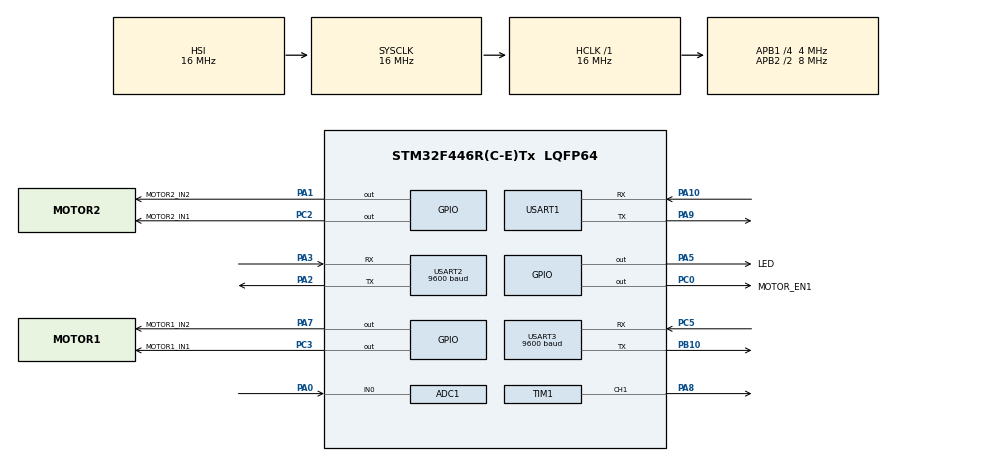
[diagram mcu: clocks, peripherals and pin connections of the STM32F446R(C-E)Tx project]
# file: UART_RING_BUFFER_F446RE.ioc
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ADC1.Channel-0\#ChannelRegularConversion=ADC_CHANNEL_0
ADC1.ContinuousConvMode=ENABLE
ADC1.NbrOfConversionFlag=1
ADC1.Rank-0\#ChannelRegularConversion=1
ADC1.SamplingTime-0\#ChannelRegularConversion=ADC_SAMPLETIME_3CYCLES
ADC1.master=1
Mcu.Family=STM32F4
Mcu.Name=STM32F446R(C-E)Tx
Mcu.Package=LQFP64
NVIC.PriorityGroup=NVIC_PRIORITYGROUP_4
NVIC.TIM6_DAC_IRQn=true\:0\:0\:false\:false\:true\:true\:true\:true
NVIC.USART1_IRQn=true\:0\:0\:false\:false\:true\:true\:true\:true
NVIC.USART2_IRQn=true\:0\:0\:false\:false\:true\:true\:true\:true
PA0-WKUP.Signal=ADCx_IN0
PA1.GPIO_Label=MOTOR2_IN2
PA1.Signal=GPIO_Output
PA10.Mode=Asynchronous
PA10.Signal=USART1_RX
PA2.Mode=Asynchronous
PA2.Signal=USART2_TX
PA3.Mode=Asynchronous
PA3.Signal=USART2_RX
PA5.GPIO_Label=LED
PA5.Signal=GPIO_Output
PA7.GPIO_Label=MOTOR1_IN2
PA7.Signal=GPIO_Output
PA8.Signal=S_TIM1_CH1
PA9.Mode=Asynchronous
PA9.Signal=USART1_TX
PB10.Mode=Asynchronous
PB10.Signal=USART3_TX
PC0.GPIO_Label=MOTOR_EN1
PC0.Signal=GPIO_Output
PC2.GPIO_Label=MOTOR2_IN1
PC2.Signal=GPIO_Output
PC3.GPIO_Label=MOTOR1_IN1
PC3.Signal=GPIO_Output
PC5.Mode=Asynchronous
PC5.Signal=USART3_RX
PH0-OSC_IN.Mode=HSE-External-Oscillator
PH0-OSC_IN.Signal=RCC_OSC_IN
PH1-OSC_OUT.Mode=HSE-External-Oscillator
PH1-OSC_OUT.Signal=RCC_OSC_OUT
ProjectManager.HeapSize=0x200
ProjectManager.StackSize=0x400
ProjectManager.TargetToolchain=STM32CubeIDE
RCC.AHBFreq_Value=16000000
RCC.APB1CLKDivider=RCC_HCLK_DIV4
RCC.APB1Freq_Value=4000000
RCC.APB1TimFreq_Value=8000000
RCC.APB2CLKDivider=RCC_HCLK_DIV2
RCC.APB2Freq_Value=8000000
RCC.APB2TimFreq_Value=16000000
RCC.CortexFreq_Value=16000000
RCC.HCLKFreq_Value=16000000
RCC.HSE_VALUE=8000000
RCC.PLLM=4
RCC.PLLN=180
RCC.SYSCLKFreq_VALUE=16000000
RCC.USBFreq_Value=360000000
RCC.VCOOutputFreq_Value=720000000
SH.ADCx_IN0.0=ADC1_IN0,IN0
SH.S_TIM1_CH1.0=TIM1_CH1,PWM Generation1 CH1
TIM1.Channel-PWM\ Generation1\ CH1=TIM_CHANNEL_1
TIM1.Period=99
TIM1.Prescaler=6399
TIM6.AutoReloadPreload=TIM_AUTORELOAD_PRELOAD_ENABLE
TIM6.Period=1000
TIM6.Prescaler=15999
USART1.VirtualMode=VM_ASYNC
USART2.BaudRate=9600
USART2.VirtualMode=VM_ASYNC
USART3.BaudRate=9600
USART3.VirtualMode=VM_ASYNC
VP_TIM1_VS_ClockSourceINT.Mode=Internal
VP_TIM6_VS_ClockSourceINT.Mode=Enable_Timer
board=custom

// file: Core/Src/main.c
/* USER CODE BEGIN Header */
/**
  ******************************************************************************
  * @file           : main.c
  * @brief          : Main program body
  ******************************************************************************
  * @attention
  *
  * <h2><center>&copy; Copyright (c) 2019 STMicroelectronics.
  * All rights reserved.</center></h2>
  *
  * This software component is licensed by ST under BSD 3-Clause license,
  * the "License"; You may not use this file except in compliance with the
  * License. You may obtain a copy of the License at:
  *                        opensource.org/licenses/BSD-3-Clause
  *
  ******************************************************************************
  */
/* USER CODE END Header */

#include "main.h"

/* USER CODE BEGIN Includes */
#include "UartRingbuffer.h"
#include <stdio.h>
#include <string.h>
/* USER CODE END Includes */

ADC_HandleTypeDef hadc1;

TIM_HandleTypeDef htim1;
TIM_HandleTypeDef htim6;

UART_HandleTypeDef huart1;
UART_HandleTypeDef huart2;
UART_HandleTypeDef huart3;

/* USER CODE BEGIN PV */
//int data[100];
char data;
char buffer[50];
char buff[1];
uint8_t count_sec = 0;
uint8_t flag=0;
uint8_t time=0;
uint8_t stop=0;
uint8_t tim_flag = 0;
uint8_t tim_val = 0;
float adc_val;
int motor_flag=1;
int pwm_value=10;
/* USER CODE END PV */

void SystemClock_Config(void);
static void MX_GPIO_Init(void);
static void MX_USART2_UART_Init(void);
static void MX_USART1_UART_Init(void);
static void MX_TIM6_Init(void);
static void MX_ADC1_Init(void);
static void MX_TIM1_Init(void);
static void MX_USART3_UART_Init(void);
/* USER CODE BEGIN PFP */
int data_from_iot(void);
void iot_data_send_to_target_set(char *data);
int action(int sec);
void motor_drive_start(void);
float adc_value(void);
void motor_drive_clockwise(void);
void motor_drive_anticlockwise(void);
/* USER CODE END PFP */

/* USER CODE BEGIN 0 */
int data_from_iot(void)
{
	stop=0;
	//HAL_UART_Transmit(&huart2, "Entry data_from_iot\r\n", strlen("Entry data_from_iot\r\n"), 100);
//	if(motor_flag)
//	{
	if (IsDataAvailable()) {
		data = Uart_read();

		if (Wait_for("$") == 1  ) {
			Copy_upto("1", buff);
			motor_flag=0;
			//HAL_UART_Transmit(&huart2, buff, 1, 100);
			iot_data_send_to_target_set(buff);

		}

	}
//}
//	if(motor_flag==0)
//	{
//		motor_drive_clockwise();
//							HAL_Delay(1000);
//							motor_drive_anticlockwise();
//							HAL_Delay(1000);
//
//	}

	return 1;

}

int action(int sec)
{
	//HAL_UART_Transmit(&huart2, "Entry motor action\r\n", strlen("Entry motor action\r\n"), 100);

	HAL_TIM_Base_Start_IT(&htim6);
  while(1)
{
	if(adc_value() >= 2000.00)
			{
		       HAL_UART_Transmit(&huart3, "1", 1, 100);
		       Uart_write(1);
				HAL_GPIO_WritePin(GPIOA, LED_Pin, GPIO_PIN_SET);
				count_sec=10;
				HAL_TIM_Base_Stop_IT(&htim6);
				motor_drive_stop();
				return 0;
				break;

			}
//	if(adc_value()<= 2000.00 )
//	{
//		HAL_GPIO_WritePin(GPIOA, LED_Pin, GPIO_PIN_RESET);
//		        Uart_write(0);
//		//HAL_UART_Transmit(&huart2, "Target Missed\r\n", strlen("Target Missed\r\n"), 100);
//	}
}

}

void iot_data_send_to_target_set(char data[])
{
	//HAL_UART_Transmit(&huart2, "Entry data_sent_target\r\n", strlen("Entry data_sent_target\r\n"), 100);

	if (data[0] == 1) {
		tim_val = 5;
		action(tim_val);

	} else if (data[0] == 2) {
		tim_val = 10;
		action(tim_val);

	} else if (data[0] == 3) {
		tim_val = 20;
		action(tim_val);
	} else {
		tim_val = 0;
		action(tim_val);
	}

}
void motor_drive_clockwise(void)
{
   // ++time;
	//HAL_UART_Transmit(&huart2, "Entry motor start clockwise\r\n",strlen("Entry motor start clockwise\r\n"), 100);
//  if(pwm_value>10)
//  {
	    htim1.Instance->CCR1 = pwm_value;

	    HAL_GPIO_WritePin(GPIOC, MOTOR2_IN1_Pin, GPIO_PIN_SET);
	  	HAL_GPIO_WritePin(GPIOA, MOTOR2_IN2_Pin, GPIO_PIN_RESET);
	  	HAL_GPIO_WritePin(GPIOC, MOTOR1_IN1_Pin, GPIO_PIN_SET);
	  	HAL_GPIO_WritePin(MOTOR1_IN2_GPIO_Port, MOTOR1_IN2_Pin, GPIO_PIN_RESET);
	  	pwm_value++;
//  }

}
void motor_drive_anticlockwise(void)
{
   // ++time;
	//HAL_UART_Transmit(&huart2, "Entry motor start anticlockwise\r\n",strlen("Entry motor start anticlockwise\r\n"), 100);
//	if (pwm_value < 10) {
		htim1.Instance->CCR1 = pwm_value;

		HAL_GPIO_WritePin(GPIOC, MOTOR2_IN1_Pin, GPIO_PIN_RESET);
		HAL_GPIO_WritePin(GPIOA, MOTOR2_IN2_Pin, GPIO_PIN_SET);
		HAL_GPIO_WritePin(GPIOC, MOTOR1_IN1_Pin, GPIO_PIN_RESET);
		HAL_GPIO_WritePin(MOTOR1_IN2_GPIO_Port, MOTOR1_IN2_Pin, GPIO_PIN_SET);
		pwm_value--;
//	}

}

void motor_drive_stop(void)
{
	//HAL_UART_Transmit(&huart2, "Entry motor stop\r\n",strlen("Entry motor stop\r\n"), 100);

	HAL_GPIO_WritePin(GPIOC, MOTOR2_IN1_Pin, GPIO_PIN_RESET);
	HAL_GPIO_WritePin(GPIOA, MOTOR2_IN2_Pin, GPIO_PIN_RESET);

	HAL_GPIO_WritePin(GPIOC, MOTOR1_IN1_Pin, GPIO_PIN_RESET);
	HAL_GPIO_WritePin(MOTOR1_IN2_GPIO_Port, MOTOR1_IN2_Pin, GPIO_PIN_RESET);
	HAL_Delay(2000);
	HAL_TIM_PWM_Stop(&htim1, TIM_CHANNEL_1);
}
float adc_value(void)
{
	flag=0;
	HAL_ADC_Start(&hadc1);
	HAL_ADC_PollForConversion(&hadc1, 100);
	adc_val = HAL_ADC_GetValue(&hadc1);
	sprintf(buffer,"Solar Panel:%0.2f\r\n",adc_val);
	HAL_UART_Transmit(&huart2, buffer, strlen(buffer), 100);
	return adc_val;
}
/* USER CODE END 0 */

int main(void)
{

  /* MCU Configuration--------------------------------------------------------*/

  /* Reset of all peripherals, Initializes the Flash interface and the Systick. */
  HAL_Init();

  /* Configure the system clock */
  SystemClock_Config();

  /* Initialize all configured peripherals */
  MX_GPIO_Init();
  MX_USART2_UART_Init();
  MX_USART1_UART_Init();
  MX_TIM6_Init();
  MX_ADC1_Init();
  MX_TIM1_Init();
  MX_USART3_UART_Init();
  /* USER CODE BEGIN 2 */

  Ringbuf_init ();
  HAL_TIM_Base_Start(&htim1);
 HAL_TIM_PWM_Start(&htim1, TIM_CHANNEL_1);
 // HAL_UART_Transmit(&huart3, "Hello", 5,100);
  /* USER CODE END 2 */

  /* Infinite loop */
  while (1)
  {

    /* USER CODE BEGIN 3 */
	  /* wait_for is replaced by get_pos */
	  if(data_from_iot())
	  {
		  stop=1;
	  }

      if(action(5)==0)
      {
    	  exit(0);
      }

  }
  /* USER CODE END 3 */
}

void SystemClock_Config(void)
{
  RCC_OscInitTypeDef RCC_OscInitStruct = {0};
  RCC_ClkInitTypeDef RCC_ClkInitStruct = {0};

  /** Configure the main internal regulator output voltage
  */
  __HAL_RCC_PWR_CLK_ENABLE();
  __HAL_PWR_VOLTAGESCALING_CONFIG(PWR_REGULATOR_VOLTAGE_SCALE3);
  /** Initializes the CPU, AHB and APB busses clocks
  */
  RCC_OscInitStruct.OscillatorType = RCC_OSCILLATORTYPE_HSI;
  RCC_OscInitStruct.HSIState = RCC_HSI_ON;
  RCC_OscInitStruct.HSICalibrationValue = RCC_HSICALIBRATION_DEFAULT;
  RCC_OscInitStruct.PLL.PLLState = RCC_PLL_NONE;
  if (HAL_RCC_OscConfig(&RCC_OscInitStruct) != HAL_OK)
  {
    Error_Handler();
  }
  /** Initializes the CPU, AHB and APB busses clocks
  */
  RCC_ClkInitStruct.ClockType = RCC_CLOCKTYPE_HCLK|RCC_CLOCKTYPE_SYSCLK
                              |RCC_CLOCKTYPE_PCLK1|RCC_CLOCKTYPE_PCLK2;
  RCC_ClkInitStruct.SYSCLKSource = RCC_SYSCLKSOURCE_HSI;
  RCC_ClkInitStruct.AHBCLKDivider = RCC_SYSCLK_DIV1;
  RCC_ClkInitStruct.APB1CLKDivider = RCC_HCLK_DIV4;
  RCC_ClkInitStruct.APB2CLKDivider = RCC_HCLK_DIV2;

  if (HAL_RCC_ClockConfig(&RCC_ClkInitStruct, FLASH_LATENCY_0) != HAL_OK)
  {
    Error_Handler();
  }
}

static void MX_ADC1_Init(void)
{

  ADC_ChannelConfTypeDef sConfig = {0};

  /** Configure the global features of the ADC (Clock, Resolution, Data Alignment and number of conversion)
  */
  hadc1.Instance = ADC1;
  hadc1.Init.ClockPrescaler = ADC_CLOCK_SYNC_PCLK_DIV2;
  hadc1.Init.Resolution = ADC_RESOLUTION_12B;
  hadc1.Init.ScanConvMode = DISABLE;
  hadc1.Init.ContinuousConvMode = ENABLE;
  hadc1.Init.DiscontinuousConvMode = DISABLE;
  hadc1.Init.ExternalTrigConvEdge = ADC_EXTERNALTRIGCONVEDGE_NONE;
  hadc1.Init.ExternalTrigConv = ADC_SOFTWARE_START;
  hadc1.Init.DataAlign = ADC_DATAALIGN_RIGHT;
  hadc1.Init.NbrOfConversion = 1;
  hadc1.Init.DMAContinuousRequests = DISABLE;
  hadc1.Init.EOCSelection = ADC_EOC_SINGLE_CONV;
  if (HAL_ADC_Init(&hadc1) != HAL_OK)
  {
    Error_Handler();
  }
  /** Configure for the selected ADC regular channel its corresponding rank in the sequencer and its sample time.
  */
  sConfig.Channel = ADC_CHANNEL_0;
  sConfig.Rank = 1;
  sConfig.SamplingTime = ADC_SAMPLETIME_3CYCLES;
  if (HAL_ADC_ConfigChannel(&hadc1, &sConfig) != HAL_OK)
  {
    Error_Handler();
  }

}

static void MX_TIM1_Init(void)
{

  TIM_ClockConfigTypeDef sClockSourceConfig = {0};
  TIM_MasterConfigTypeDef sMasterConfig = {0};
  TIM_OC_InitTypeDef sConfigOC = {0};
  TIM_BreakDeadTimeConfigTypeDef sBreakDeadTimeConfig = {0};

  htim1.Instance = TIM1;
  htim1.Init.Prescaler = 6399;
  htim1.Init.CounterMode = TIM_COUNTERMODE_UP;
  htim1.Init.Period = 99;
  htim1.Init.ClockDivision = TIM_CLOCKDIVISION_DIV1;
  htim1.Init.RepetitionCounter = 0;
  htim1.Init.AutoReloadPreload = TIM_AUTORELOAD_PRELOAD_DISABLE;
  if (HAL_TIM_Base_Init(&htim1) != HAL_OK)
  {
    Error_Handler();
  }
  sClockSourceConfig.ClockSource = TIM_CLOCKSOURCE_INTERNAL;
  if (HAL_TIM_ConfigClockSource(&htim1, &sClockSourceConfig) != HAL_OK)
  {
    Error_Handler();
  }
  if (HAL_TIM_PWM_Init(&htim1) != HAL_OK)
  {
    Error_Handler();
  }
  sMasterConfig.MasterOutputTrigger = TIM_TRGO_RESET;
  sMasterConfig.MasterSlaveMode = TIM_MASTERSLAVEMODE_DISABLE;
  if (HAL_TIMEx_MasterConfigSynchronization(&htim1, &sMasterConfig) != HAL_OK)
  {
    Error_Handler();
  }
  sConfigOC.OCMode = TIM_OCMODE_PWM1;
  sConfigOC.Pulse = 0;
  sConfigOC.OCPolarity = TIM_OCPOLARITY_HIGH;
  sConfigOC.OCNPolarity = TIM_OCNPOLARITY_HIGH;
  sConfigOC.OCFastMode = TIM_OCFAST_DISABLE;
  sConfigOC.OCIdleState = TIM_OCIDLESTATE_RESET;
  sConfigOC.OCNIdleState = TIM_OCNIDLESTATE_RESET;
  if (HAL_TIM_PWM_ConfigChannel(&htim1, &sConfigOC, TIM_CHANNEL_1) != HAL_OK)
  {
    Error_Handler();
  }
  sBreakDeadTimeConfig.OffStateRunMode = TIM_OSSR_DISABLE;
  sBreakDeadTimeConfig.OffStateIDLEMode = TIM_OSSI_DISABLE;
  sBreakDeadTimeConfig.LockLevel = TIM_LOCKLEVEL_OFF;
  sBreakDeadTimeConfig.DeadTime = 0;
  sBreakDeadTimeConfig.BreakState = TIM_BREAK_DISABLE;
  sBreakDeadTimeConfig.BreakPolarity = TIM_BREAKPOLARITY_HIGH;
  sBreakDeadTimeConfig.AutomaticOutput = TIM_AUTOMATICOUTPUT_DISABLE;
  if (HAL_TIMEx_ConfigBreakDeadTime(&htim1, &sBreakDeadTimeConfig) != HAL_OK)
  {
    Error_Handler();
  }
  HAL_TIM_MspPostInit(&htim1);

}

static void MX_TIM6_Init(void)
{

  TIM_MasterConfigTypeDef sMasterConfig = {0};

  htim6.Instance = TIM6;
  htim6.Init.Prescaler = 15999;
  htim6.Init.CounterMode = TIM_COUNTERMODE_UP;
  htim6.Init.Period = 1000;
  htim6.Init.AutoReloadPreload = TIM_AUTORELOAD_PRELOAD_ENABLE;
  if (HAL_TIM_Base_Init(&htim6) != HAL_OK)
  {
    Error_Handler();
  }
  sMasterConfig.MasterOutputTrigger = TIM_TRGO_RESET;
  sMasterConfig.MasterSlaveMode = TIM_MASTERSLAVEMODE_DISABLE;
  if (HAL_TIMEx_MasterConfigSynchronization(&htim6, &sMasterConfig) != HAL_OK)
  {
    Error_Handler();
  }

}

static void MX_USART1_UART_Init(void)
{

  huart1.Instance = USART1;
  huart1.Init.BaudRate = 115200;
  huart1.Init.WordLength = UART_WORDLENGTH_8B;
  huart1.Init.StopBits = UART_STOPBITS_1;
  huart1.Init.Parity = UART_PARITY_NONE;
  huart1.Init.Mode = UART_MODE_TX_RX;
  huart1.Init.HwFlowCtl = UART_HWCONTROL_NONE;
  huart1.Init.OverSampling = UART_OVERSAMPLING_16;
  if (HAL_UART_Init(&huart1) != HAL_OK)
  {
    Error_Handler();
  }

}

static void MX_USART2_UART_Init(void)
{

  huart2.Instance = USART2;
  huart2.Init.BaudRate = 9600;
  huart2.Init.WordLength = UART_WORDLENGTH_8B;
  huart2.Init.StopBits = UART_STOPBITS_1;
  huart2.Init.Parity = UART_PARITY_NONE;
  huart2.Init.Mode = UART_MODE_TX_RX;
  huart2.Init.HwFlowCtl = UART_HWCONTROL_NONE;
  huart2.Init.OverSampling = UART_OVERSAMPLING_16;
  if (HAL_UART_Init(&huart2) != HAL_OK)
  {
    Error_Handler();
  }

}

static void MX_USART3_UART_Init(void)
{

  huart3.Instance = USART3;
  huart3.Init.BaudRate = 9600;
  huart3.Init.WordLength = UART_WORDLENGTH_8B;
  huart3.Init.StopBits = UART_STOPBITS_1;
  huart3.Init.Parity = UART_PARITY_NONE;
  huart3.Init.Mode = UART_MODE_TX_RX;
  huart3.Init.HwFlowCtl = UART_HWCONTROL_NONE;
  huart3.Init.OverSampling = UART_OVERSAMPLING_16;
  if (HAL_UART_Init(&huart3) != HAL_OK)
  {
    Error_Handler();
  }

}

static void MX_GPIO_Init(void)
{
  GPIO_InitTypeDef GPIO_InitStruct = {0};

  /* GPIO Ports Clock Enable */
  __HAL_RCC_GPIOH_CLK_ENABLE();
  __HAL_RCC_GPIOC_CLK_ENABLE();
  __HAL_RCC_GPIOA_CLK_ENABLE();
  __HAL_RCC_GPIOB_CLK_ENABLE();

  /*Configure GPIO pin Output Level */
  HAL_GPIO_WritePin(GPIOC, MOTOR_EN1_Pin|MOTOR2_IN1_Pin|MOTOR1_IN1_Pin, GPIO_PIN_RESET);

  /*Configure GPIO pin Output Level */
  HAL_GPIO_WritePin(GPIOA, MOTOR2_IN2_Pin|LED_Pin|MOTOR1_IN2_Pin, GPIO_PIN_RESET);

  /*Configure GPIO pins : MOTOR_EN1_Pin MOTOR2_IN1_Pin MOTOR1_IN1_Pin */
  GPIO_InitStruct.Pin = MOTOR_EN1_Pin|MOTOR2_IN1_Pin|MOTOR1_IN1_Pin;
  GPIO_InitStruct.Mode = GPIO_MODE_OUTPUT_PP;
  GPIO_InitStruct.Pull = GPIO_NOPULL;
  GPIO_InitStruct.Speed = GPIO_SPEED_FREQ_LOW;
  HAL_GPIO_Init(GPIOC, &GPIO_InitStruct);

  /*Configure GPIO pins : MOTOR2_IN2_Pin LED_Pin MOTOR1_IN2_Pin */
  GPIO_InitStruct.Pin = MOTOR2_IN2_Pin|LED_Pin|MOTOR1_IN2_Pin;
  GPIO_InitStruct.Mode = GPIO_MODE_OUTPUT_PP;
  GPIO_InitStruct.Pull = GPIO_NOPULL;
  GPIO_InitStruct.Speed = GPIO_SPEED_FREQ_LOW;
  HAL_GPIO_Init(GPIOA, &GPIO_InitStruct);

}

/* USER CODE BEGIN 4 */
void HAL_TIM_PeriodElapsedCallback(TIM_HandleTypeDef* htim)
{
	count_sec++;

	motor_drive_anticlockwise();

   if(count_sec>=5 && count_sec<=9)
   {
		motor_drive_clockwise();

   }

	if(count_sec==10)
	{
		Uart_write(2);
		HAL_UART_Transmit(&huart3, "0", 1, 100);

		motor_drive_stop();

	}
}
/* USER CODE END 4 */

void Error_Handler(void)
{
}

/************************ (C) COPYRIGHT STMicroelectronics *****END OF FILE****/
